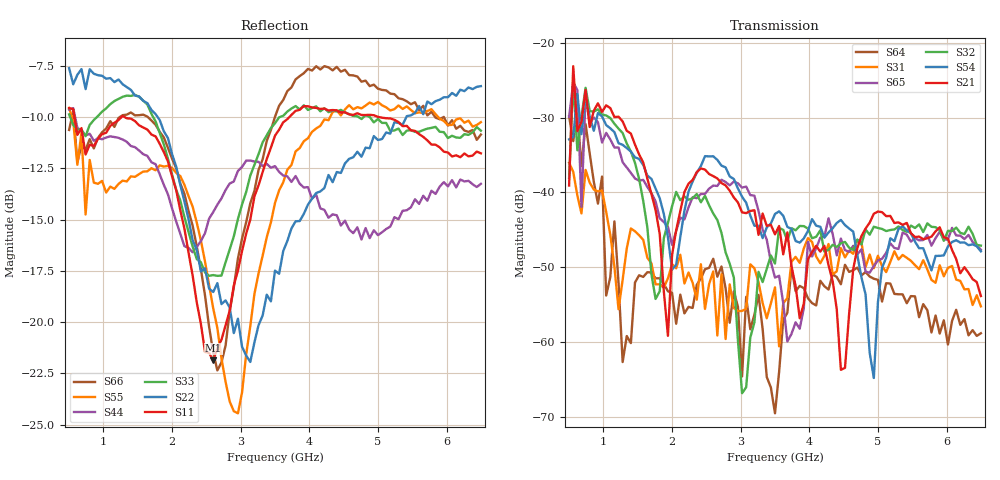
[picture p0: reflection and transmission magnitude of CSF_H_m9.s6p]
!Keysight Technologies,M9804A,MY58100912,A.14.10.03
!Date: Thursday, April 27, 2023 10:28:33
!Correction: S11(C  6-Port  )
!S12(C  6-Port  )
!S13(C  6-Port  )
!S14(C  6-Port  )
!S15(C  6-Port  )
!S16(C  6-Port  )
!S21(C  6-Port  )
!S22(C  6-Port  )
!S23(C  6-Port  )
!S24(C  6-Port  )
!S25(C  6-Port  )
!S26(C  6-Port  )
!S31(C  6-Port  )
!S32(C  6-Port  )
!S33(C  6-Port  )
!S34(C  6-Port  )
!S35(C  6-Port  )
!S36(C  6-Port  )
!S41(C  6-Port  )
!S42(C  6-Port  )
!S43(C  6-Port  )
!S44(C  6-Port  )
!S45(C  6-Port  )
!S46(C  6-Port  )
!S51(C  6-Port  )
!S52(C  6-Port  )
!S53(C  6-Port  )
!S54(C  6-Port  )
!S55(C  6-Port  )
!S56(C  6-Port  )
!S61(C  6-Port  )
!S62(C  6-Port  )
!S63(C  6-Port  )
!S64(C  6-Port  )
!S65(C  6-Port  )
!S66(C  6-Port  )
!S6P File: Measurement: :
# Hz S  RI  R 50
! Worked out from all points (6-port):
!   101 points, 500 MHz to 6.5 GHz, reference 50 ohm
!   strongest paths, dB at 500 MHz, 2 GHz, 3.5 GHz, 5 GHz, 6.5 GHz:
!     S21: -39.1, -48.4, -45.6, -42.6, -53.9
!     S54: -32.9, -50.3, -42.9, -54.7, -47.9
!     S32: -38.0, -41.8, -49.5, -44.7, -47.1
!     S65: -29.9, -47.0, -51.4, -49.1, -47.7
!     S31: -36.0, -49.6, -52.7, -48.5, -55.2
!     S64: -29.8, -53.4, -69.5, -51.7, -58.8
!   lowest |S11| = -21.9 dB at 2.6 GHz (marker M1), VSWR 1.18, Z = 42.8 + j1.96 ohm
!   |S11| at or under -10 dB: 578.5 MHz to 1.265 GHz (686.6 MHz wide, 74.5 % of centre); 1.307 GHz to 3.71 GHz (2.403 GHz wide, 95.8 % of centre); 5.011 GHz to end of sweep
